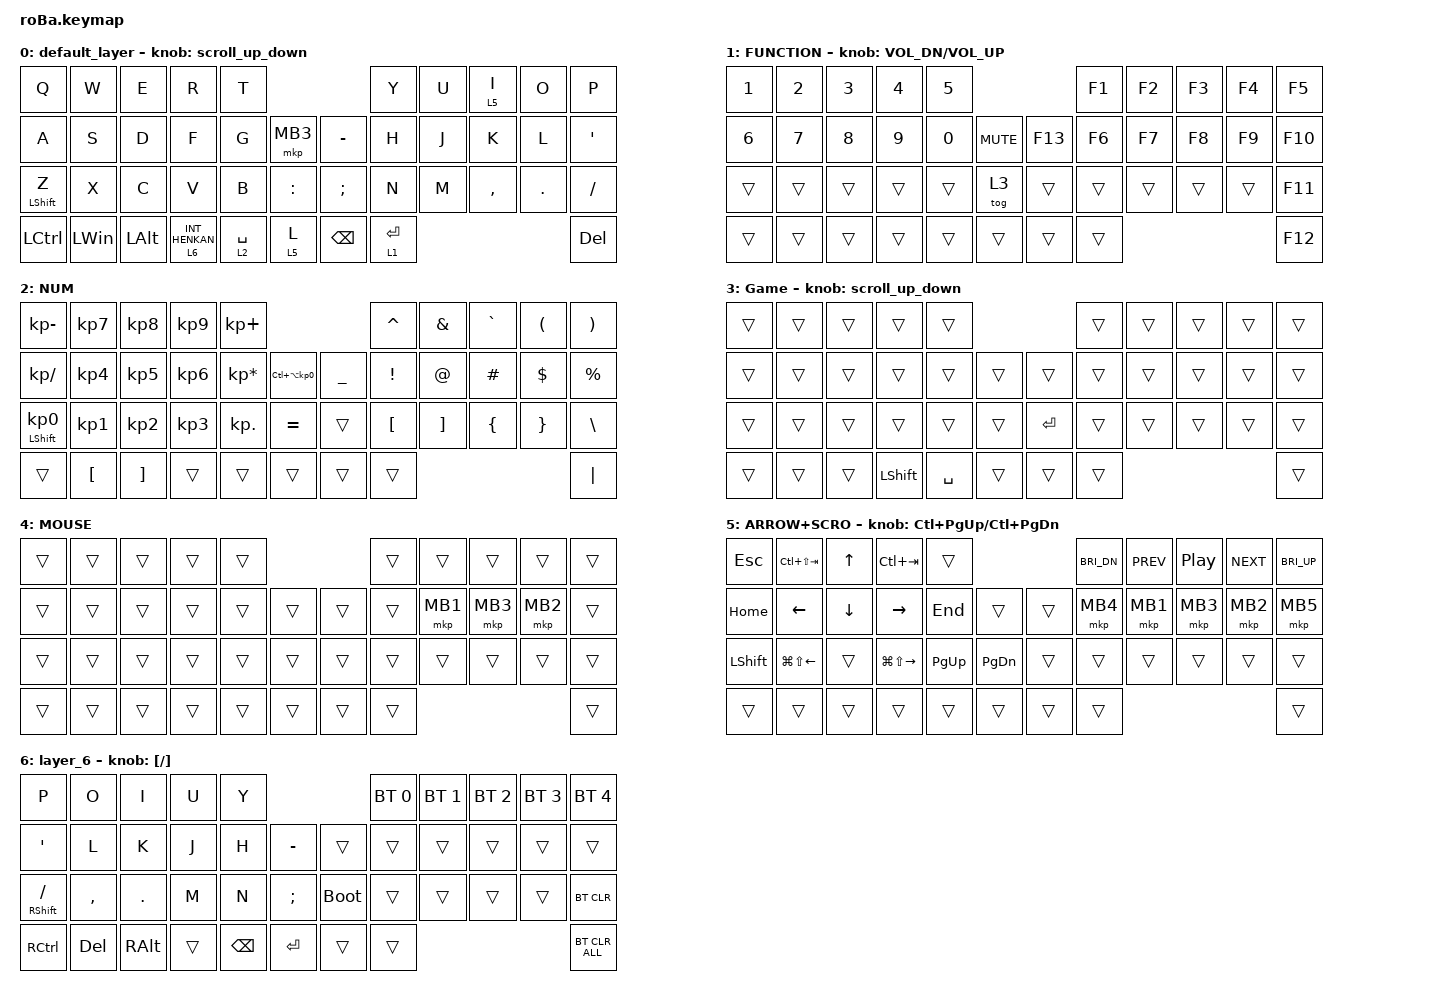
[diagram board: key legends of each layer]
#include <behaviors.dtsi>
#include <dt-bindings/zmk/bt.h>
#include <dt-bindings/zmk/keys.h>
#include <dt-bindings/zmk/pointing.h>

#define ZMK_POINTING_DEFAULT_SCRL_VAL 100

&mt {
    flavor = "balanced";
    quick-tap-ms = <0>;
};

&trackball {
    automouse-layer = <4>;
    scroll-layers = <5>;

    // arrows {
    //     layers = <3>;
    //     bindings =
    //         <&kp RIGHT_ARROW>,
    //         <&kp LEFT_ARROW>,
    //         <&kp UP_ARROW>,
    //         <&kp DOWN_ARROW>;
    //     tick = <10>;
    //     wait-ms = <5>;
    //     tap-ms = <5>;
    // };
};

/ {
    combos {
        compatible = "zmk,combos";

        tab {
            bindings = <&kp TAB>;
            key-positions = <11 12>;
        };

        shift_tab {
            bindings = <&kp LS(TAB)>;
            key-positions = <12 13>;
        };

        muhennkann {
            bindings = <&to_layer_0 INT_MUHENKAN>;
            key-positions = <11 10>;
        };

        double_quotation {
            bindings = <&kp DOUBLE_QUOTES>;
            key-positions = <20 21>;
        };

        eq {
            bindings = <&kp EQUAL>;
            key-positions = <24 25>;
        };

        caps {
            bindings = <&kp CAPS>;
            key-positions = <23 24>;
        };

        sift_caps {
            bindings = <&kp LS(CAPS)>;
            key-positions = <22 23>;
        };

        sifr+zj {
            bindings = <&kp LS(Z)>;
            key-positions = <10 22>;
        };
    };

    macros {
        to_layer_0: to_layer_0 {
            compatible = "zmk,behavior-macro-one-param";
            #binding-cells = <1>;
            bindings = <&to 0 &macro_param_1to1 &kp MACRO_PLACEHOLDER>;
            label = "TO_LAYER_0";
        };
    };

    behaviors {
        scroll_up_down: behavior_sensor_rotate_mouse_wheel_up_down {
            compatible = "zmk,behavior-sensor-rotate";
            #sensor-binding-cells = <0>;
            bindings = <&msc SCRL_DOWN>, <&msc SCRL_UP>;

            // 追加: スクロールのタップ時間を設定 (20ms)

            tap-ms = <20>;
        };

        lt_to_layer_0: lt_to_layer_0 {
            compatible = "zmk,behavior-hold-tap";
            label = "LAYER_TAP_TO_0";
            bindings = <&mo>, <&to_layer_0>;

            #binding-cells = <2>;
            tapping-term-ms = <200>;
        };

        // カスタムLayer-Tapの定義
        my_lt: my_layer_tap {
            compatible = "zmk,behavior-hold-tap";
            #binding-cells = <2>;
            
            // 長押しと判定するまでの時間（反応が悪い場合は数値を増やす）
            tapping-term-ms = <200>; 
            
            // 単押し（Tap）を優先する
            flavor = "tap-preferred"; 
            
            // 【重要】他のキーを打った直後の125ms間は、強制的に単押しとして判定する
            require-prior-idle-ms = <125>; 
            
            // キーを素早く連続して叩いた際、レイヤー移動させずにキーの連続入力にする時間
            quick-tap-ms = <200>; 
            
            // Layer-Tap用のバインディング（Holdでレイヤー移動 &mo、Tapでキー入力 &kp）
            bindings = <&mo>, <&kp>; 
        };
    };

    keymap {
        compatible = "zmk,keymap";

        default_layer {
            bindings = <
&kp Q             &kp W         &kp E         &kp R                &kp T                                         &kp Y        &kp U  &my_lt 5 I    &kp O    &kp P
&kp A             &kp S         &kp D         &kp F                &kp G           &mkp MB3       &kp MINUS      &kp H        &kp J  &kp K         &kp L    &kp SQT
&mt LEFT_SHIFT Z  &kp X         &kp C         &kp V                &kp B           &kp COLON      &kp SEMICOLON  &kp N        &kp M  &kp COMMA     &kp DOT  &kp SLASH
&kp LCTRL         &kp LEFT_WIN  &kp LEFT_ALT  &my_lt 6 INT_HENKAN  &my_lt 2 SPACE  &my_lt 5 L     &kp BACKSPACE  &my_lt 1 ENTER                             &kp DEL
            >;

            sensor-bindings = <&scroll_up_down>;
        };

        FUNCTION {
            bindings = <
&kp NUMBER_1  &kp NUMBER_2  &kp NUMBER_3  &kp NUMBER_4  &kp NUMBER_5                           &kp F1  &kp F2  &kp F3  &kp F4  &kp F5
&kp NUMBER_6  &kp NUMBER_7  &kp N8        &kp NUMBER_9  &kp NUMBER_0  &kp C_MUTE      &kp F13  &kp F6  &kp F7  &kp F8  &kp F9  &kp F10
&trans        &trans        &trans        &trans        &trans        &tog 3          &trans   &trans  &trans  &trans  &trans  &kp F11
&trans        &trans        &trans        &trans        &trans        &trans          &trans   &trans                          &kp F12
            >;

            sensor-bindings = <&inc_dec_kp C_VOL_DN C_VOL_UP>;
        };

        NUM {
            bindings = <
&kp KP_SUBTRACT             &kp KP_NUMBER_7   &kp KP_NUMBER_8    &kp KP_NUMBER_9  &kp KP_PLUS                                                   &kp CARET         &kp AMPERSAND      &kp GRAVE       &kp LEFT_PARENTHESIS  &kp RIGHT_PARENTHESIS
&kp KP_DIVIDE               &kp KP_NUMBER_4   &kp KP_NUMBER_5    &kp KP_NUMBER_6  &kp KP_MULTIPLY  &kp LC(LA(KP_NUMBER_0))      &kp UNDERSCORE  &kp EXCLAMATION   &kp AT_SIGN        &kp HASH        &kp DOLLAR            &kp PERCENT
&mt LEFT_SHIFT KP_NUMBER_0  &kp KP_NUMBER_1   &kp KP_NUMBER_2    &kp KP_NUMBER_3  &kp KP_DOT       &kp EQUAL                    &trans          &kp LEFT_BRACKET  &kp RIGHT_BRACKET  &kp LEFT_BRACE  &kp RIGHT_BRACE       &kp BACKSLASH
&trans                      &kp LEFT_BRACKET  &kp RIGHT_BRACKET  &trans           &trans           &trans                       &trans          &trans                                                                     &kp PIPE
            >;
        };

        Game {
            bindings = <
&trans  &trans  &trans  &trans          &trans                            &trans  &trans  &trans  &trans  &trans
&trans  &trans  &trans  &trans          &trans     &trans      &trans     &trans  &trans  &trans  &trans  &trans
&trans  &trans  &trans  &trans          &trans     &trans      &kp ENTER  &trans  &trans  &trans  &trans  &trans
&trans  &trans  &trans  &kp LEFT_SHIFT  &kp SPACE  &trans      &trans     &trans                          &trans
            >;

            sensor-bindings = <&scroll_up_down>;
        };

        MOUSE {
            bindings = <
&trans  &trans  &trans  &trans  &trans                      &trans  &trans    &trans    &trans    &trans
&trans  &trans  &trans  &trans  &trans  &trans      &trans  &trans  &mkp MB1  &mkp MB3  &mkp MB2  &trans
&trans  &trans  &trans  &trans  &trans  &trans      &trans  &trans  &trans    &trans    &trans    &trans
&trans  &trans  &trans  &trans  &trans  &trans      &trans  &trans                                &trans
            >;
        };

        ARROW+SCRO {
            bindings = <
&kp ESCAPE      &kp LC(LS(TAB))         &kp UP_ARROW    &kp LC(TAB)              &trans                                &kp C_BRI_DN  &kp C_PREV  &kp C_PP  &kp C_NEXT  &kp C_BRI_UP
&kp HOME        &kp LEFT_ARROW          &kp DOWN_ARROW  &kp RIGHT_ARROW          &kp END    &trans             &trans  &mkp MB4      &mkp MB1    &mkp MB3  &mkp MB2    &mkp MB5
&kp LEFT_SHIFT  &kp LG(LS(LEFT_ARROW))  &trans          &kp LG(LS(RIGHT_ARROW))  &kp PG_UP  &kp PAGE_DOWN      &trans  &trans        &trans      &trans    &trans      &trans
&trans          &trans                  &trans          &trans                   &trans     &trans             &trans  &trans                                          &trans
            >;

            sensor-bindings = <&inc_dec_kp LC(PAGE_UP) LC(PAGE_DOWN)>;
        };

        layer_6 {
            bindings = <
&kp P                  &kp O      &kp I     &kp U   &kp Y                                          &bt BT_SEL 0  &bt BT_SEL 1  &bt BT_SEL 2  &bt BT_SEL 3  &bt BT_SEL 4
&kp SQT                &kp L      &kp K     &kp J   &kp H          &kp MINUS          &trans       &trans        &trans        &trans        &trans        &trans
&mt RIGHT_SHIFT SLASH  &kp COMMA  &kp DOT   &kp M   &kp N          &kp SEMICOLON      &bootloader  &trans        &trans        &trans        &trans        &bt BT_CLR
&kp RCTRL              &kp DEL    &kp RALT  &trans  &kp BACKSPACE  &kp ENTER          &trans       &trans                                                  &bt BT_CLR_ALL
            >;

            sensor-bindings = <&inc_dec_kp LEFT_BRACKET RIGHT_BRACKET>;
        };
    };
};
